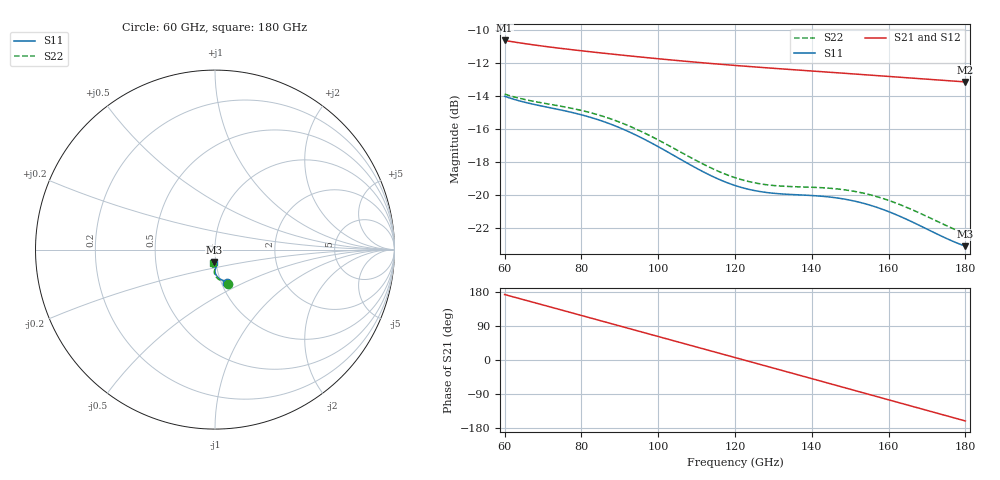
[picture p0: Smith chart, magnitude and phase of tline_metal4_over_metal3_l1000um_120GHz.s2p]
#  GHZ S DB R 50
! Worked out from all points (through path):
!   101 points, 60 GHz to 180 GHz, reference 50 ohm
!   highest |S21| = -10.65 dB at 60 GHz (marker M1); lowest = -13.2 dB at 180 GHz (marker M2)
!   group delay of S21, straight-line fit = 7.73 ps
!   lowest |S11| = -23.1 dB at 180 GHz (marker M3), VSWR 1.15, Z = 49 - j6.89 ohm
!   |S11| at or under -10 dB: start of sweep to end of sweep
!   |S22| runs from -22.3 to -13.9 dB; largest |S21 - S12| = 4.1e-14
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60  -14.02 -69.6  -10.65 172.8  -10.65 172.8  -13.89 -69.8
64.8  -14.36 -70.3  -10.82 159.5  -10.82 159.5  -14.19 -70.5
69.6  -14.61 -71.6  -10.98 146.3  -10.98 146.3  -14.42 -71.9
75.6  -14.90 -74.1  -11.15 129.7  -11.15 129.7  -14.66 -74.5
80.4  -15.17 -76.7  -11.28 116.4  -11.28 116.4  -14.90 -77.2
85.2  -15.50 -79.6  -11.40 103.1  -11.40 103.1  -15.20 -80.2
90  -15.93 -82.5  -11.52 89.8  -11.52 89.8  -15.59 -83.3
94.8  -16.44 -85.3  -11.63 76.4  -11.63 76.4  -16.06 -86.2
100.8  -17.17 -88.0  -11.77 59.8  -11.77 59.8  -16.76 -89.2
110.4  -18.42 -89.8  -11.97 33.1  -11.97 33.1  -17.96 -91.6
115.2  -18.98 -89.5  -12.07 19.8  -12.07 19.8  -18.51 -91.5
120  -19.41 -88.7  -12.16 6.5  -12.16 6.5  -18.94 -90.9
124.8  -19.71 -87.7  -12.24 -6.8  -12.24 -6.8  -19.24 -90.1
129.6  -19.87 -87.0  -12.32 -20.2  -12.32 -20.2  -19.41 -89.4
134.4  -19.96 -86.9  -12.40 -33.6  -12.40 -33.6  -19.48 -89.3
140.4  -20.03 -87.8  -12.50 -50.3  -12.50 -50.3  -19.53 -90.3
146.4  -20.16 -89.7  -12.60 -67.1  -12.60 -67.1  -19.62 -92.1
151.2  -20.36 -91.6  -12.68 -80.5  -12.68 -80.5  -19.77 -94.1
156  -20.66 -93.5  -12.76 -93.9  -12.76 -93.9  -20.03 -96.2
160.8  -21.07 -95.2  -12.84 -107.3  -12.84 -107.3  -20.38 -98.2
171.6  -22.23 -96.5  -13.02 -137.5  -13.02 -137.5  -21.46 -100.4
180  -23.08 -94.0  -13.15 -160.9  -13.15 -160.9  -22.33 -99.0
